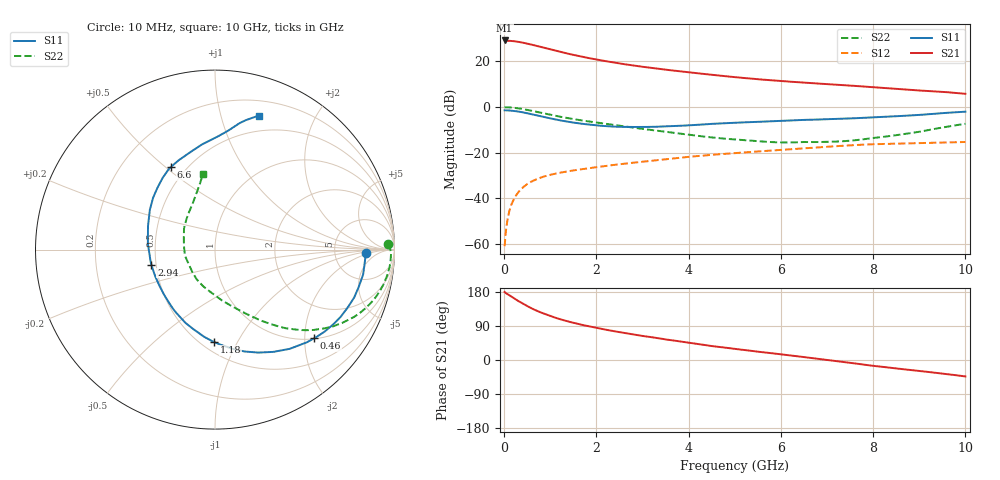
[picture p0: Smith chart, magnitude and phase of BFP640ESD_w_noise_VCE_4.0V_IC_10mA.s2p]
! Infineon Technologies  Discrete & RF Semiconductors
! BFP640ESD
! VCE =  4.0 V,  IC =  10 mA
! Common Emitter S-Parameters:  Jan 2016
# GHz  S  MA  R  50
!  f  S11  S21  S12  S22
! GHz  MAG  ANG  MAG  ANG  MAG  ANG  MAG  ANG
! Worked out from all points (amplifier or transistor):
!   233 points, 10 MHz to 10 GHz, reference 50 ohm
!   highest |S21| = 29.0 dB at 10 MHz (marker M1)
!   |S21| within 3 dB of that: start of sweep to 825.7 MHz
!   unconditionally stable (mu >= 1): start of sweep to 13.98 MHz; 4.077 GHz to 7.975 GHz; 8.029 GHz to 8.756 GHz
!   at 200 MHz: K = 0.19, MSG = 34.8 dB, |S12| = -40.8 dB
!   at 1.74 GHz: K = 0.70, MSG = 24.4 dB, |S12| = -27.1 dB
!   at 10 GHz: K = 0.86, MSG = 10.5 dB, |S12| = -15.4 dB
!   lowest NFmin = 0.68 dB at 450 MHz
!   S11 on the Smith chart (normalised r, x): 10 MHz: 11, -2; 460 MHz: 1.01, -2.22; 1.18 GHz: 0.58, -0.81; 2.94 GHz: 0.47, -0.09; 6.6 GHz: 0.41, +0.52; 10 GHz: 0.34, +1.32
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0.01  0.8408 -1.4  28.35 179.5  0.0009 12.5  0.967 1.8
0.05  0.8378 -4.9  27.89 175.4  0.0024 67.0  0.981 -2.8
0.15  0.8279 -14.3  27.66 167.8  0.007 75.8  0.9702 -8.5
0.24  0.8089 -22.7  26.98 160.7  0.0109 73.8  0.9499 -13.5
0.34  0.7813 -31.7  26.1 153.3  0.0149 70.6  0.9198 -18.6
0.46  0.7412 -41.8  24.68 145.0  0.0191 66.7  0.876 -24.1
0.6  0.6922 -53.0  22.91 135.9  0.0235 62.5  0.8196 -29.8
0.7  0.656 -60.3  21.66 130.4  0.0262 60.0  0.7807 -33.4
0.9  0.5912 -73.8  19.23 120.4  0.0308 55.8  0.7073 -39.3
1.02  0.5555 -81.1  17.9 115.2  0.0331 54.0  0.6663 -42.3
1.18  0.5149 -90.5  16.34 108.9  0.0359 52.1  0.6188 -45.8
1.4  0.4693 -102.3  14.44 101.2  0.0393 50.2  0.5622 -49.9
1.68  0.4283 -115.6  12.57 93.0  0.0433 48.6  0.5062 -54.1
2.2  0.3798 -138.0  9.999 80.0  0.051 46.8  0.4264 -61.1
2.94  0.364 -166.7  7.683 64.7  0.0625 44.2  0.3363 -72.2
3.4  0.3711 178.1  6.7 56.4  0.0702 42.0  0.2945 -80.1
4.5  0.4253 148.6  5.035 36.8  0.0895 35.2  0.2146 -107.9
5.1  0.454 138.4  4.374 27.9  0.0993 31.0  0.1904 -124.2
6.6  0.5221 117.9  3.342 6.2  0.1263 19.7  0.1701 -170.8
6.8  0.529 115.0  3.242 3.2  0.1303 18.0  0.1702 -176.3
8.4  0.6168 91.0  2.506 -20.9  0.1565 1.2  0.2331 132.9
10  0.7858 71.9  1.932 -43.4  0.1708 -13.8  0.4273 98.9
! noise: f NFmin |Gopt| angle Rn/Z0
0.45  0.68  0.19  6  0.11
0.9  0.7  0.18  20  0.1
1.9  0.72  0.13  35  0.1
2.4  0.75  0.09  56  0.1
5.5  1.03  0.31  -133  0.1
10  1.78  0.59  -80  0.7
